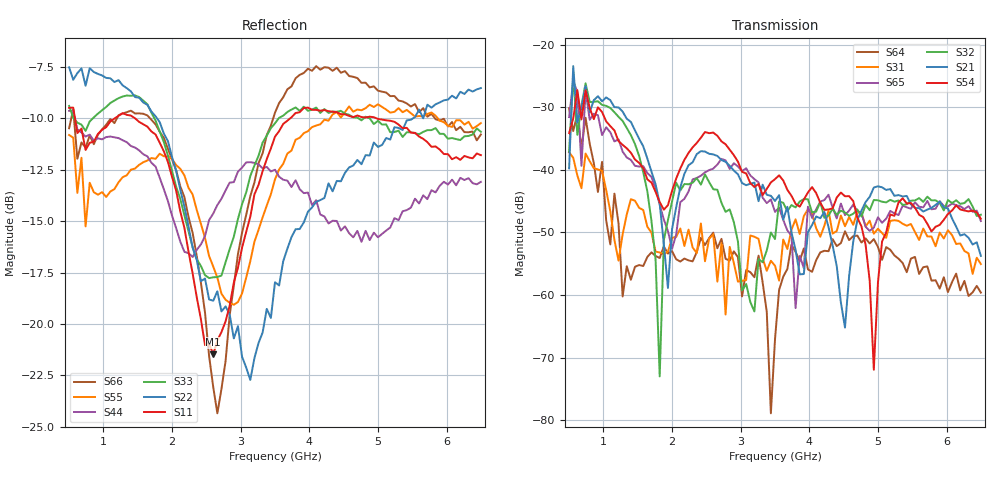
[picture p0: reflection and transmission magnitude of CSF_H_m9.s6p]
!Keysight Technologies,M9804A,MY58100912,A.14.10.03
!Date: Thursday, April 27, 2023 10:28:33
!Correction: S11(C  6-Port  )
!S12(C  6-Port  )
!S13(C  6-Port  )
!S14(C  6-Port  )
!S15(C  6-Port  )
!S16(C  6-Port  )
!S21(C  6-Port  )
!S22(C  6-Port  )
!S23(C  6-Port  )
!S24(C  6-Port  )
!S25(C  6-Port  )
!S26(C  6-Port  )
!S31(C  6-Port  )
!S32(C  6-Port  )
!S33(C  6-Port  )
!S34(C  6-Port  )
!S35(C  6-Port  )
!S36(C  6-Port  )
!S41(C  6-Port  )
!S42(C  6-Port  )
!S43(C  6-Port  )
!S44(C  6-Port  )
!S45(C  6-Port  )
!S46(C  6-Port  )
!S51(C  6-Port  )
!S52(C  6-Port  )
!S53(C  6-Port  )
!S54(C  6-Port  )
!S55(C  6-Port  )
!S56(C  6-Port  )
!S61(C  6-Port  )
!S62(C  6-Port  )
!S63(C  6-Port  )
!S64(C  6-Port  )
!S65(C  6-Port  )
!S66(C  6-Port  )
!S6P File: Measurement: :
# Hz S  RI  R 50
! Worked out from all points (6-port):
!   101 points, 500 MHz to 6.5 GHz, reference 50 ohm
!   strongest paths, dB at 500 MHz, 2 GHz, 3.5 GHz, 5 GHz, 6.5 GHz:
!     S54: -34.1, -43.3, -41.5, -58.0, -47.8
!     S21: -39.8, -49.5, -45.0, -42.6, -53.7
!     S32: -37.1, -45.1, -51.1, -44.9, -47.2
!     S65: -31.6, -52.6, -46.7, -47.6, -48.2
!     S31: -37.2, -50.9, -55.3, -49.4, -55.1
!     S64: -30.2, -53.0, -67.1, -52.3, -59.6
!   lowest |S11| = -21.5 dB at 2.6 GHz (marker M1), VSWR 1.18, Z = 42.5 + j2.03 ohm
!   |S11| at or under -10 dB: 585.6 MHz to 1.162 GHz (576.8 MHz wide, 66 % of centre); 1.463 GHz to 3.72 GHz (2.256 GHz wide, 87.1 % of centre); 4.984 GHz to end of sweep
